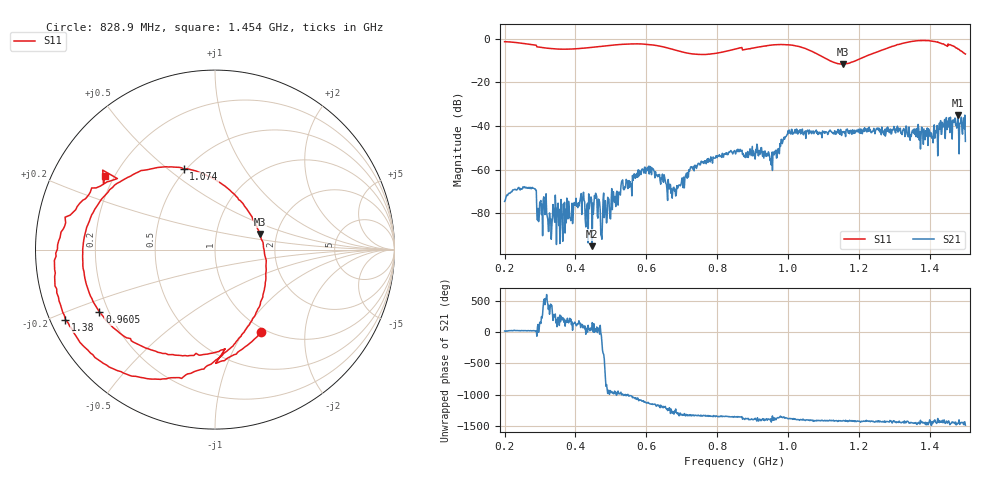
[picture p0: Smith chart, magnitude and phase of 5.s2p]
! NanoVNA-App
! Date: 2024-06-25 16:49:52
! Start: 200MHz Stop: 1.5GHz Points: 801
! S-Parameter data: F S11 S21 S12 S22
# Hz S RI R 50
!  Frequency  S11_Real  S11_Imag  S21_Real  S21_Imag  S12_Real  S12_Imag  S22_Real  S22_Imag
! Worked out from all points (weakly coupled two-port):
!   801 points, 200 MHz to 1.5 GHz, reference 50 ohm
!   highest |S21| = -34.96 dB at 1.479 GHz (marker M1); lowest = -95.1 dB at 447 MHz (marker M2)
!   lowest |S11| = -11.6 dB at 1.154 GHz (marker M3), VSWR 1.71, Z = 81.2 + j15.2 ohm
!   |S11| at or under -10 dB: 1.118 GHz to 1.191 GHz (73.05 MHz wide, 6.33 % of centre)
!   S12 and S22 are empty: the file has one direction only
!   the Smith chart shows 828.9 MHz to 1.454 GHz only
!   S11 on the Smith chart (normalised r, x): 828.9 MHz: 0.94, -1.21; 960.5 MHz: 0.16, -0.25; 1.074 GHz: 0.49, +0.57; 1.38 GHz: 0.04, -0.22; 1.454 GHz: 0.17, +0.30
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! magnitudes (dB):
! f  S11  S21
! 200 MHz  -1.3  -74.5
! 279.6 MHz  -2.7  -68.5
! 297.5 MHz  -3.8  -81.0
! 326.8 MHz  -4.4  -79.8
! 417.8 MHz  -4.3  -80.5
! 447 MHz  -3.9  -95.1
! 492.5 MHz  -3.1  -73.6
! 593.2 MHz  -2.4  -61.6
! 633.9 MHz  -3.2  -62.3
! 677.8 MHz  -5.0  -68.1
! 828.9 MHz  -5.5  -53.1
! 850 MHz  -4.7  -51.7
! 960.5 MHz  -2.7  -53.2
! 1.004 GHz  -2.8  -42.8
! 1.068 GHz  -5.8  -42.4
! 1.074 GHz  -6.4  -42.9
! 1.154 GHz  -11.6  -42.6
! 1.284 GHz  -4.0  -41.4
! 1.38 GHz  -0.7  -42.4
! 1.454 GHz  -2.7  -36.1
! 1.479 GHz  -4.7  -35.0
! 1.5 GHz  -6.9  -47.0
